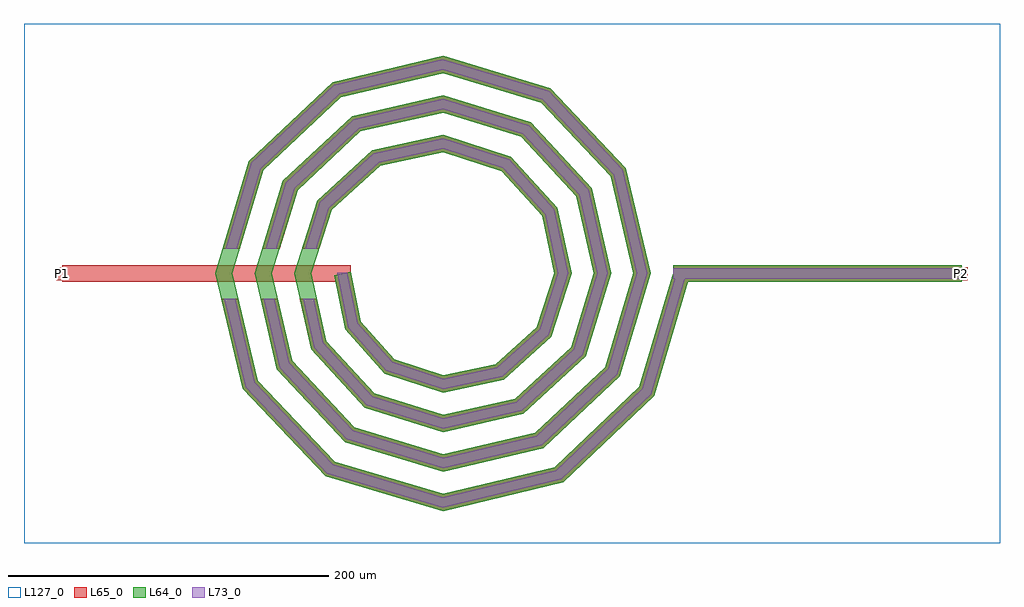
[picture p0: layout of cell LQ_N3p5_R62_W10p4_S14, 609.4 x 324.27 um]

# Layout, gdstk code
import gdstk
lib = gdstk.Library(unit=1e-6, precision=1e-09)
def R(c, l, rs):  # rectangles x0, y0, x1, y1
    for r in rs: c.add(gdstk.rectangle(r[:2], r[2:], *l))
def P(c, l, *ps):  # polygons
    for p in ps: c.add(gdstk.Polygon(p, *l))
L64_0 = (64, 0)
L65_0 = (65, 0)
L73_0 = (73, 0)
L127_0 = (127, 0)

lq_n3p5_r62_w10p4_s14 = lib.new_cell('LQ_N3p5_R62_W10p4_S14')
R(lq_n3p5_r62_w10p4_s14, L64_0, [(143.893,-5.2,323.893,5.2)])
P(lq_n3p5_r62_w10p4_s14, L64_0, [(-51.277,-29.973),(-30.457,-53.371),(0.3,-63.506),(33.033,-56.633),(58.701,-33.564),(69.675,0.275),(61.987,36.097),(36.668,64.032),(0.254,75.844),(-39.165,67.34),(-69.366,39.769),(-82.013,0.236),(-72.691,-42.235),(-42.868,-74.7),(0.221,-88.183),(45.307,-78.041),(80.036,-45.965),(94.352,0.207),(83.391,48.38),(49.06,85.373),(0.195,100.522),(-51.455,88.74),(-90.71,52.155),(-106.692,0.184),(-94.088,-54.531),(-55.248,-96.049),(0.175,-112.861),(57.608,-99.436),(101.387,-58.341),(119.031,0.166),(104.783,60.685),(61.433,106.727),(0.158,125.201),(-63.764,110.131),(-112.066,64.524),(-131.371,0.151),(-115.477,-66.843),(-67.615,-117.406),(0.145,-137.541),(69.922,-120.824),(122.746,-70.705),(144.106,1.476),(154.079,-1.476),(131.927,-76.331),(75.057,-130.288),(0.145,-148.304),(-73.251,-126.581),(-124.947,-71.967),(-142.134,0.151),(-121.234,70.171),(-68.875,119.607),(0.158,135.964),(67.093,115.887),(114.268,65.784),(129.794,0.166),(110.539,-64.015),(62.691,-108.928),(0.175,-123.623),(-60.937,-105.191),(-103.589,-59.598),(-117.453,0.184),(-99.842,57.861),(-56.504,98.251),(0.195,111.283),(54.785,94.493),(92.913,53.409),(105.112,0.207),(89.143,-51.711),(50.312,-87.575),(0.221,-98.942),(-48.638,-83.792),(-82.239,-47.214),(-92.771,0.236),(-78.44,45.567),(-44.114,76.903),(0.254,86.6),(42.498,73.086),(71.569,41.011),(80.43,0.275),(67.731,-39.431),(37.906,-66.237),(0.3,-74.258),(-36.368,-62.374),(-60.906,-34.796),(-67.807,-1.042),(-57.617,1.042)])
R(lq_n3p5_r62_w10p4_s14, L65_0, [(-237.512,-5.2,-57.512,5.2), (143.893,-5.2,323.893,5.2), (-241.512,-4,-233.512,4), (319.893,-4,327.893,4)])
P(lq_n3p5_r62_w10p4_s14, L65_0, [(-115.477,-66.843),(-67.615,-117.406),(0.145,-137.541),(69.922,-120.824),(122.746,-70.705),(144.106,1.476),(154.079,-1.476),(131.928,-76.331),(75.057,-130.288),(0.145,-148.304),(-73.251,-126.581),(-124.947,-71.967),(-138.38,-15.6),(-127.689,-15.6)],
  [(-94.088,-54.531),(-55.249,-96.049),(0.175,-112.861),(57.608,-99.436),(101.387,-58.341),(119.031,0.166),(104.784,60.685),(61.433,106.727),(0.158,125.201),(-63.764,110.131),(-112.066,64.524),(-126.669,15.6),(-137.523,15.6),(-121.234,70.172),(-68.876,119.607),(0.158,135.964),(67.093,115.887),(114.268,65.784),(129.794,0.166),(110.539,-64.015),(62.691,-108.928),(0.175,-123.623),(-60.937,-105.191),(-103.589,-59.598),(-113.793,-15.6),(-103.117,-15.6)],
  [(-72.691,-42.235),(-42.868,-74.7),(0.221,-88.183),(45.307,-78.041),(80.036,-45.965),(94.352,0.207),(83.391,48.38),(49.06,85.373),(0.195,100.522),(-51.455,88.74),(-90.71,52.155),(-101.872,15.6),(-112.746,15.6),(-99.842,57.861),(-56.504,98.251),(0.195,111.283),(54.785,94.493),(92.913,53.409),(105.112,0.207),(89.143,-51.711),(50.312,-87.575),(0.221,-98.942),(-48.638,-83.792),(-82.239,-47.214),(-89.256,-15.6),(-78.603,-15.6)],
  [(-30.457,-53.371),(0.3,-63.506),(33.033,-56.633),(58.701,-33.564),(69.675,0.275),(61.987,36.097),(36.668,64.032),(0.254,75.844),(-39.165,67.34),(-69.366,39.769),(-77.007,15.6),(-87.914,15.6),(-78.44,45.567),(-44.114,76.904),(0.254,86.6),(42.498,73.086),(71.569,41.011),(80.43,0.275),(67.731,-39.431),(37.906,-66.237),(0.3,-74.258),(-36.368,-62.374),(-60.906,-34.796),(-67.807,-1.042),(-57.617,1.042),(-51.277,-29.973)])
R(lq_n3p5_r62_w10p4_s14, L73_0, [(143.893,-3.2,323.893,3.2)])
P(lq_n3p5_r62_w10p4_s14, L73_0, [(-117.298,-67.828),(-68.699,-119.17),(0.089,-139.611),(70.91,-122.644),(124.512,-71.787),(146.024,0.908),(152.161,0.908),(130.162,-75.249),(74.07,-128.468),(0.089,-146.234),(-72.167,-124.817),(-123.126,-70.981),(-136.324,-15.6),(-129.745,-15.6)],
  [(-95.915,-55.505),(-56.343,-97.807),(0.108,-114.931),(58.585,-101.261),(103.147,-59.432),(121.101,0.102),(106.607,61.666),(62.521,108.488),(0.097,127.271),(-64.747,111.953),(-113.829,65.61),(-128.757,15.6),(-135.436,15.6),(-119.471,69.086),(-67.892,117.785),(0.097,133.894),(66.004,114.125),(112.444,64.803),(127.724,0.102),(108.779,-62.924),(61.714,-107.103),(0.108,-121.554),(-59.843,-103.433),(-101.762,-58.624),(-111.74,-15.6),(-105.17,-15.6)],
  [(-74.527,-43.192),(-43.977,-76.449),(0.136,-90.252),(46.269,-79.875),(81.787,-47.07),(96.422,0.127),(85.222,49.347),(50.161,87.127),(0.12,102.591),(-52.426,90.569),(-92.467,53.252),(-103.963,15.6),(-110.655,15.6),(-98.086,56.764),(-55.533,96.422),(0.12,109.213),(53.684,92.739),(91.082,52.442),(103.043,0.127),(87.392,-50.606),(49.35,-85.742),(0.136,-96.873),(-47.528,-82.044),(-80.403,-46.257),(-87.207,-15.6),(-80.652,-15.6)],
  [(-31.594,-55.103),(0.184,-65.574),(33.97,-58.48),(60.437,-34.693),(71.743,0.169),(63.83,37.042),(37.789,65.773),(0.156,77.912),(-40.117,69.179),(-71.111,40.884),(-79.104,15.6),(-85.816,15.6),(-76.695,44.452),(-43.162,75.064),(0.156,84.532),(41.377,71.345),(69.727,40.066),(78.361,0.169),(65.995,-38.303),(36.969,-64.39),(0.184,-72.191),(-35.231,-60.642),(-59.054,-33.869),(-65.847,0.641),(-59.577,0.641),(-53.129,-30.9)])
R(lq_n3p5_r62_w10p4_s14, L127_0, [(-261.512,-168.304,347.893,155.964)])
lq_n3p5_r62_w10p4_s14.add(gdstk.Label('P2', (323.893,0), layer=65, texttype=0))
lq_n3p5_r62_w10p4_s14.add(gdstk.Label('P1', (-237.512,0), layer=65, texttype=0))
lq_n3p5_r62_w10p4_s14.add(gdstk.Label('P2', (327.893,0), layer=145, texttype=0))
lq_n3p5_r62_w10p4_s14.add(gdstk.Label('P1', (-241.512,0), layer=145, texttype=0))

lib.write_gds('LQ_N3p5_R62_W10p4_S14.gds')
